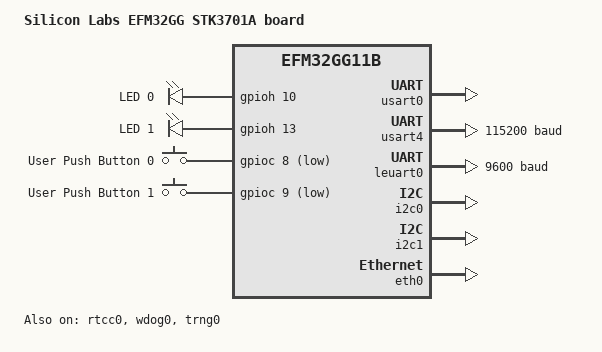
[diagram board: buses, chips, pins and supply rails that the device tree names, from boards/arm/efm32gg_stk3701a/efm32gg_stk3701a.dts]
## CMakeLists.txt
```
# SPDX-License-Identifier: Apache-2.0

cmake_minimum_required(VERSION 3.20.0)

set(BOARD_ROOT ${CMAKE_CURRENT_LIST_DIR})

#set(ZEPHYR_EXTRA_MODULES "/home/palich/zephyrproject/modules/spi_gecko;/home/palich/zephyrproject/modules/wfm200")
#for locally delivered modules or edit west.yml

find_package(Zephyr REQUIRED HINTS $ENV{ZEPHYR_BASE})

project(ykn_wifi)

FILE(GLOB pktqueue_sources src/*.c)

target_sources(app PRIVATE ${pktqueue_sources})
```

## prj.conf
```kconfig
CONFIG_CUSTOM_MBEDTLS_CFG_FILE=y
CONFIG_DHCPD=y
CONFIG_DNS_RESOLVER=y
CONFIG_INIT_STACKS=y
CONFIG_KERNEL_SHELL=y
CONFIG_LOG_PRINTK=y
CONFIG_LOG=y

CONFIG_MINIMAL_LIBC_MALLOC_ARENA_SIZE=8192
#CONFIG_NET_BUF_RX_COUNT=20
#CONFIG_NET_BUF_TX_COUNT=150
CONFIG_NET_CONNECTION_MANAGER=y
CONFIG_NET_DHCPV4=y
CONFIG_NET_IF_UNICAST_IPV4_ADDR_COUNT=2
CONFIG_NET_IF_MAX_IPV4_COUNT=2
CONFIG_NET_IPV4=y
CONFIG_NET_IPV6=n
CONFIG_NET_L2_WIFI_SHELL=y
CONFIG_NET_LOG=y
CONFIG_NET_MAX_CONTEXTS=5
CONFIG_NET_MGMT_EVENT_MONITOR=y
CONFIG_NET_PKT_RX_COUNT=10
CONFIG_NET_PKT_TX_COUNT=40
CONFIG_NET_RX_STACK_SIZE=2048
CONFIG_NET_SHELL=y
CONFIG_NET_SOCKETS_POLL_MAX=4
CONFIG_NET_SOCKETS_POSIX_NAMES=y
CONFIG_NET_SOCKETS=y
CONFIG_NET_STATISTICS_PERIODIC_OUTPUT=n
CONFIG_NET_STATISTICS=y
CONFIG_NET_TCP=y
CONFIG_NET_TC_TX_COUNT=1
CONFIG_NET_UDP=y
CONFIG_NETWORKING=y
CONFIG_NET_ZPERF=y
CONFIG_POSIX_API=y
CONFIG_POSIX_MAX_FDS=8
CONFIG_SHELL_BACKEND_TELNET=y
CONFIG_SHELL_TELNET_SUPPORT_COMMAND=y
CONFIG_SPI_GECKO=n
CONFIG_SPI_GECKO_USE_LDMA=y
CONFIG_TEST_RANDOM_GENERATOR=y
CONFIG_TIMING_FUNCTIONS=y
CONFIG_WIFI_LOG_LEVEL_ERR=y
CONFIG_WIFI=y

# add this secion to end of west.yml in ~/zephyrproject/zephyr
# and then run west update --narrow
#    - name: module-dhcpd
#      url: git@github.com:palich2000/module-dhcpd.git
#      revision: main
#      path: modules/dhcpd
#
#    - name: module-msgpackc
#      url: git@github.com:palich2000/msgpackc.git
#      revision: main
#      path: modules/msgpackc
#
#    - name: module-spigecko
#      url: git@github.com:palich2000/module-spigecko.git
#      revision: main
#      path: modules/spi_gecko
#
#    - name: module-wfm200
#      url: git@github.com:palich2000/module-wfm200.git
#      revision: main
#      path: modules/wfm200
#
```

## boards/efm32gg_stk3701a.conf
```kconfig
CONFIG_WIFI=y

CONFIG_WIFI_WFM200=y

CONFIG_SPI=y
CONFIG_EVENTS=y
CONFIG_SYS_CLOCK_HW_CYCLES_PER_SEC=72000000
CONFIG_CMU_HFCLK_HFRCO=y
```

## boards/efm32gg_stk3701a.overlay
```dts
/*
 * Copyright (c) 2022 Espressif Systems (Shanghai) Co., Ltd.
 *
 * SPDX-License-Identifier: Apache-2.0
 */


/*
&wifi0 {
	status = "okay";
};

&eth0 {
        status = "okay";
};
*/
```

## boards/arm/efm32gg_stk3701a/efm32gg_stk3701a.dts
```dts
/*
 * Copyright (c) 2019 Interay Solutions B.V.
 * Copyright (c) 2019 Oane Kingma
 *
 * SPDX-License-Identifier: Apache-2.0
 */

/dts-v1/;
#include <silabs/efm32gg11b820f2048gl192.dtsi>

/ {
	model = "Silicon Labs EFM32GG STK3701A board";
	compatible = "silabs,efm32gg_stk3701a", "silabs,efm32gg11b";

	chosen {
		zephyr,console = &usart4;
		zephyr,shell-uart = &usart4;
		zephyr,sram = &sram0;
		zephyr,flash = &flash0;
	};

	/* These aliases are provided for compatibility with samples */
	aliases {
		led0 = &led0;
		led1 = &led1;
		sw0 = &button0;
		sw1 = &button1;
		watchdog0 = &wdog0;
		//pinreset = &pinreset;
		spi = &usart0;
		gpioa = &gpioa;
		gpioc = &gpioc;
		gpioe = &gpioe;
		wifi0 = &wifi0;
	};

	leds {
		compatible = "gpio-leds";
		led0: led_0 {
			gpios = <&gpioh 10 0>;
			label = "LED 0";
		};
		led1: led_1 {
			gpios = <&gpioh 13 0>;
			label = "LED 1";
		};
		/*
	    pinreset: pin_reset {
		    gpios = <&gpioc 4 0>;
		    label = "PIN RESET";
	    };
		*/

	};

	buttons {
		compatible = "gpio-keys";
		button0: button_0 {
			/* gpio flags need validation */
			gpios = <&gpioc 8 GPIO_ACTIVE_LOW>;
			label = "User Push Button 0";
		};
		button1: button_1 {
			/* gpio flags need validation */
			gpios = <&gpioc 9 GPIO_ACTIVE_LOW>;
			label = "User Push Button 1";
		};
	};

	wifi0: wifi {
	   compatible = "silabs,wfm200";
	   /*status = "okay";*/
           status = "disabled";
	};

};

&usart0 {
	/*
	current-speed = <115200>;
	location-rx = <GECKO_LOCATION(0) GECKO_PORT_E GECKO_PIN(11)>;
	location-tx = <GECKO_LOCATION(0) GECKO_PORT_E GECKO_PIN(10)>;
	status = "okay";
	*/

	compatible = "silabs,gecko-spi-usart";

	#address-cells = <1>;
	#size-cells = <0>;

	location-rx = <GECKO_LOCATION(0) GECKO_PORT_E GECKO_PIN(11)>;
	location-tx = <GECKO_LOCATION(0) GECKO_PORT_E GECKO_PIN(10)>;
	location-clk = <GECKO_LOCATION(0) GECKO_PORT_E GECKO_PIN(12)>;

	cs-gpios = <&gpioe 13 GPIO_ACTIVE_LOW>;

	status = "okay";

};

&usart4 {
	current-speed = <115200>;
	location-rx = <GECKO_LOCATION(4) GECKO_PORT_H GECKO_PIN(5)>;
	location-tx = <GECKO_LOCATION(4) GECKO_PORT_H GECKO_PIN(4)>;
	status = "okay";
};

&leuart0 {
	current-speed = <9600>;
	location-rx = <GECKO_LOCATION(18) GECKO_PORT_D GECKO_PIN(11)>;
	location-tx = <GECKO_LOCATION(18) GECKO_PORT_D GECKO_PIN(10)>;
	status = "okay";
};

&i2c0 {
	location-sda = <GECKO_LOCATION(4) GECKO_PORT_C GECKO_PIN(0)>;
	location-scl = <GECKO_LOCATION(4) GECKO_PORT_C GECKO_PIN(1)>;
	status = "okay";
};

&i2c1 {
	location-sda = <GECKO_LOCATION(0) GECKO_PORT_C GECKO_PIN(4)>;
	location-scl = <GECKO_LOCATION(0) GECKO_PORT_C GECKO_PIN(5)>;
	status = "okay";
};

&rtcc0 {
	prescaler = <1>;
	status = "okay";
};

&gpio {
	location-swo = <0>;
	status = "okay";
};

&gpioa {
	status = "okay";
};

&gpiob {
	status = "okay";
};

&gpioc {
	status = "okay";
};

&gpiod {
	status = "okay";
};

&gpioe {
	status = "okay";
};

&gpiof {
	status = "okay";
};

&gpiog {
	status = "okay";
};

&gpioh {
	status = "okay";
};

&gpioi {
	status = "okay";
};

&eth0 {
	/* PHY address = 0 */
	phy-address = <0>;

	/* PHY management pins */
	location-mdio        = <GECKO_LOCATION(1)>;
	location-phy_mdc     = <GECKO_LOCATION(1) GECKO_PORT_D GECKO_PIN(14)>;
	location-phy_mdio    = <GECKO_LOCATION(1) GECKO_PORT_D GECKO_PIN(13)>;

	/* RMII interface pins */
	location-rmii        = <GECKO_LOCATION(1)>;
	location-rmii_refclk = <GECKO_LOCATION(5) GECKO_PORT_D GECKO_PIN(10)>;
	location-rmii_crs_dv = <GECKO_LOCATION(1) GECKO_PORT_D GECKO_PIN(11)>;
	location-rmii_txd0   = <GECKO_LOCATION(1) GECKO_PORT_F GECKO_PIN(7)>;
	location-rmii_txd1   = <GECKO_LOCATION(1) GECKO_PORT_F GECKO_PIN(6)>;
	location-rmii_tx_en  = <GECKO_LOCATION(1) GECKO_PORT_F GECKO_PIN(8)>;
	location-rmii_rxd0   = <GECKO_LOCATION(1) GECKO_PORT_D GECKO_PIN(9)>;
	location-rmii_rxd1   = <GECKO_LOCATION(1) GECKO_PORT_F GECKO_PIN(9)>;
	location-rmii_rx_er  = <GECKO_LOCATION(1) GECKO_PORT_D GECKO_PIN(12)>;

	status = "okay";
};

&flash0 {

	partitions {
		compatible = "fixed-partitions";
		#address-cells = <1>;
		#size-cells = <1>;

		/* Set 12Kb of storage at the end of the 2048Kb of flash */
		storage_partition: partition@1fd000 {
			label = "storage";
			reg = <0x001fd000 0x00003000>;
		};
	};
};

&wdog0 {
	status = "okay";
};

&trng0 {
	status = "okay";
};

&cpu0 {
	clock-frequency = <72000000>;
};

&wifi0 {
	status = "okay";
};
```

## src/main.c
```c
/*
 * Copyright (c) 2012-2014 Wind River Systems, Inc.
 *
 * SPDX-License-Identifier: Apache-2.0
 */

#include <zephyr/logging/log.h>
LOG_MODULE_REGISTER(wfm200test, LOG_LEVEL_DBG);

#include <stdio.h>
#include <stdlib.h>
#include <ctype.h>

#include <zephyr/kernel.h>
#include <zephyr/net/wifi_mgmt.h>
#include <zephyr/net/net_if.h>
#include <zephyr/timing/timing.h>
#include <zephyr/shell/shell.h>

#include <mbedtls/ecdh.h>
#include <mbedtls/entropy.h>
#include <mbedtls/ctr_drbg.h>
#include <mbedtls/md.h>
#include <mbedtls/sha256.h>
#include <mbedtls/ccm.h>
#include <arpa/inet.h>
#include <dhcpd.h>

#pragma GCC diagnostic push
#pragma GCC diagnostic error "-Wall"
#pragma GCC diagnostic error "-Wextra"
#pragma GCC diagnostic error "-Wunused"
#pragma GCC diagnostic error "-Wint-conversion"
#pragma GCC diagnostic error "-Wincompatible-pointer-types"

static struct net_mgmt_event_callback wifi_mgmt_cb;
static struct net_mgmt_event_callback  mgmt_if_cb;

static void handle_wifi_connect_result(struct net_mgmt_event_callback *cb, struct net_if *iface)
{
	const struct wifi_status *status = (const struct wifi_status *)cb->info;

	if (status->status) {
		LOG_ERR("Connection request failed (%d)", status->status);
	} else {
		LOG_INF("WIFI Connected");
		net_if_carrier_on(iface);
		net_dhcpv4_start(iface);
		LOG_INF("Dhcp started");
	}
}

static void handle_wifi_disconnect_result(struct net_mgmt_event_callback *cb, struct net_if *iface)
{
	const struct wifi_status *status = (const struct wifi_status *)cb->info;

	if (status->status) {
		LOG_ERR("Disconnection request failed (%d)", status->status);
	} else {
		LOG_INF("WIFI Disconnected");
		net_dhcpv4_stop(iface);
		net_if_config_ipv4_put(iface);
		net_if_carrier_off(iface);
		LOG_INF("Dhcp stopped");
	}
}

static void wifi_mgmt_event_handler(struct net_mgmt_event_callback *cb, uint32_t mgmt_event,
				    struct net_if *iface)
{
	switch (mgmt_event) {
	case NET_EVENT_WIFI_CONNECT_RESULT:
		handle_wifi_connect_result(cb, iface);
		break;
	case NET_EVENT_WIFI_DISCONNECT_RESULT:
		handle_wifi_disconnect_result(cb, iface);
		break;
	default:
		break;
	}
}

static void my_if_mgmt_event_handler(struct net_mgmt_event_callback *cb, uint32_t mgmt_event,
				     struct net_if *iface)
{
	ARG_UNUSED(cb);
	ARG_UNUSED(iface);
	LOG_INF("[%s]Event interface:%s event:0x%X", __FUNCTION__, iface->if_dev->dev->name, mgmt_event);
	switch (mgmt_event) {
	case NET_EVENT_IF_ADMIN_UP:
	case NET_EVENT_IF_UP:
		LOG_INF("Interface up %s", iface->if_dev->dev->name);
		if (strstr(iface->if_dev->dev->name,"eth@") == iface->if_dev->dev->name) {
			LOG_INF("dhcp4client for %s started", iface->if_dev->dev->name);
			net_dhcpv4_start(iface);
//			if (net_if_config_ipv4_put(iface) ) {
//				LOG_ERR("net_if_config_ipv4_put error");
//			}
//
//			memset(&iface->config.dhcpv4,0,sizeof(iface->config.dhcpv4));
//			if (iface->config.ip.ipv4) {
//				memset(&iface->config.ip.ipv4->gw, 0, sizeof(iface->config.ip.ipv4->gw));
//			}
//
//
//			struct in_addr addr;
//			if (net_addr_pton(AF_INET, "192.168.2.1", &addr)) {
//				LOG_ERR("Invalid address: %s", "192.168.2.1");
//				return;
//			}
//
//			if (net_if_ipv4_addr_add(iface, &addr, NET_ADDR_MANUAL, 0)==NULL){
//				LOG_ERR("net_if_ipv4_addr_add failed");
//				return;
//			}
//
//			if (net_addr_pton(AF_INET, "255.255.255.0", &addr)) {
//				LOG_ERR("Invalid netmask: %s", "255.255.255.0");
//				return;
//			}
//
//			net_if_ipv4_set_netmask(iface, &addr);
//
//			dhcpd4_start(iface);
		}
		break;
	case NET_EVENT_IF_ADMIN_DOWN:
	case NET_EVENT_IF_DOWN:
		LOG_INF("Interface down %s", iface->if_dev->dev->name);
		if (strstr(iface->if_dev->dev->name,"eth@") == iface->if_dev->dev->name) {
			LOG_INF("dhcp4client for %s stopped", iface->if_dev->dev->name);
			net_dhcpv4_stop(iface);
//			dhcpd4_stop(iface);
		}
		break;
	default:
		break;
	}
}

#define PR(fmt, ...)						\
	shell_fprintf(sh, SHELL_NORMAL, fmt, ##__VA_ARGS__)

static int cmd_test_iface_put(const struct shell *sh, size_t argc, char *argv[]){
	ARG_UNUSED(sh);
	PR("argc=%d\n", argc);
 if (argc==2) {
		int if_index = atoi(argv[1]);
		struct net_if * iface = net_if_get_by_index(if_index);
		if (net_if_config_ipv4_put(iface)!=0){
			PR("net_if_config_ipv4_put failed\n");
		} else {
			PR("net_if_config_ipv4_put ok\n");
			net_dhcpv4_stop(iface);
			memset(&iface->config.dhcpv4,0, sizeof(iface->config.dhcpv4));
		}
 }
 return 0;
}

static int cmd_test_ccm(const struct shell *sh, size_t argc, char *argv[])
{
	ARG_UNUSED(sh);
	ARG_UNUSED(argc);
	ARG_UNUSED(argv);

	unsigned char key[16] = {0x01, 0x23, 0x45, 0x67, 0x89, 0xab, 0xcd, 0xef,
				 0xfe, 0xdc, 0xba, 0x98, 0x76, 0x54, 0x32, 0x10};
	unsigned char nonce[12] = {0x00, 0x11, 0x22, 0x33, 0x44, 0x55,
				   0x66, 0x77, 0x88, 0x99, 0xaa, 0xbb};
	//unsigned char header[10] = {0xaa, 0xbb, 0xcc, 0xdd, 0xee, 0xff, 0x11, 0x22, 0x33, 0x44};

	unsigned char input[20] = {0x01, 0x23, 0x45, 0x67, 0x89, 0xab, 0xcd, 0xef, 0xfe, 0xdc,
				   0xba, 0x98, 0x76, 0x54, 0x32, 0x10, 0xff, 0xee, 0xdd, 0xcc};
	//unsigned char output[20] = {0};
	unsigned char tag[16] = {0};

	size_t input_len = 20;
	//size_t header_len = 10;
	size_t tag_len = 16;

	mbedtls_ccm_context ctx;
	mbedtls_ccm_init(&ctx);
	mbedtls_ccm_setkey(&ctx, MBEDTLS_CIPHER_ID_AES, key, 128);

	LOG_HEXDUMP_INF(input, input_len,"input");

	timing_t start_time, end_time;
	uint64_t total_cycles;
	uint64_t total_ns;

	timing_init();
	timing_start();

	start_time = timing_counter_get();

	mbedtls_ccm_encrypt_and_tag(&ctx, input_len,
				    nonce, sizeof(nonce),
				    NULL, 0,
				    input, input,
				    tag, tag_len);

	end_time = timing_counter_get();

	total_cycles = timing_cycles_get(&start_time, &end_time);
	total_ns = timing_cycles_to_ns(total_cycles);

	timing_stop();
	mbedtls_ccm_free(&ctx);
	LOG_HEXDUMP_INF(input, input_len,"output");
	LOG_HEXDUMP_INF(tag, tag_len,"tag");
	LOG_INF("exec time: %lld microseconds", total_ns/1000);
	return 0;
}

static int cmd_test_arp(const struct shell *sh, size_t argc, char *argv[])
{
	ARG_UNUSED(sh);
	ARG_UNUSED(argc);
	ARG_UNUSED(argv);
//	struct net_if * iface = net_if_get_default();
//	struct in_addr ip_addr;
//	inet_pton(AF_INET,"192.168.2.2", &ip_addr);
//	struct net_eth_addr mac_addr={.addr={0,1,2,3,4,5}};
//	arp_update(iface,&ip_addr, &mac_addr,false,true);
	return 0;
}

SHELL_STATIC_SUBCMD_SET_CREATE(test_commands,
	SHELL_CMD(ccm, NULL, "Test ccm alg",cmd_test_ccm),
			       SHELL_CMD(iput, NULL, "Test iface_put",cmd_test_iface_put),
			       SHELL_CMD(arp, NULL, "Test arp_update",cmd_test_arp),
	SHELL_SUBCMD_SET_END
);

SHELL_CMD_REGISTER(test, &test_commands, "Testing commands", NULL);

#define WIFI_MGMT_EVENTS (NET_EVENT_WIFI_SCAN_RESULT |		\
				NET_EVENT_WIFI_SCAN_DONE |		\
				NET_EVENT_WIFI_CONNECT_RESULT |		\
				NET_EVENT_WIFI_DISCONNECT_RESULT |  \
				NET_EVENT_WIFI_TWT)

void main(void)
{
	LOG_INF("********************************** --- start ***********************************");

	net_mgmt_init_event_callback(&wifi_mgmt_cb, wifi_mgmt_event_handler,
				     _NET_WIFI_EVENT);
	net_mgmt_add_event_callback(&wifi_mgmt_cb);

	net_mgmt_init_event_callback(&mgmt_if_cb, my_if_mgmt_event_handler, _NET_EVENT_IF_BASE);
	net_mgmt_add_event_callback(&mgmt_if_cb);

	while (1) {
		k_msleep(1000);
	}
}

// my comment
```

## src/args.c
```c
#include <zephyr/logging/log.h>
LOG_MODULE_DECLARE(dhcp4server, LOG_LEVEL_DBG);

#include <getopt.h>
#include <string.h>
#include <stdio.h>
#include <ctype.h>
#include <stdlib.h>
#include <unistd.h>
#include <arpa/inet.h>
#include "args.h"
#include "options.h"
#include <zephyr/shell/shell.h>
#include "dhcpmem.h"

#pragma GCC diagnostic push
#pragma GCC diagnostic error "-Wall"
#pragma GCC diagnostic error "-Wextra"
#pragma GCC diagnostic error "-Wunused"
#pragma GCC diagnostic error "-Wint-conversion"

#define PR(sh, level, fmt, ...)					\
	do {								\
		if (sh) {						\
			shell_fprintf(sh, level, fmt, ##__VA_ARGS__); \
		} else {						\
			printk(fmt, ##__VA_ARGS__);			\
		}							\
	} while (false)

void usage(const struct shell *sh,char *msg)
{
	shell_warn(sh,"%s", USAGE_TXT);
    
    if (msg) {
	    shell_error(sh,"%s", msg);
    }
    
}

int parse_and_add_option(address_pool *pool, char * name, char * value)
{

    dhcp_option *option = dhcp4_calloc(1, sizeof(*option));
    if (!option) {
	    return -1;
    }
    uint8_t id = parse_option(option, name, value);
    if (id == 0) {
	    LOG_ERR("error: invalid dhcp option specified: %s,%s", name, value);
	    option_free(&option);
	    return -1;
    }
    return append_option(&pool->options, option);
}

int parse_args(const struct shell *sh, int argc, char *argv[], address_pool *pool)
{
    int c;

    opterr = 0;

    struct net_if * iface = net_if_get_default();
    if (iface) {
	pool->device_index=net_if_get_by_iface(iface);
    } else {
	pool->device_index=-1;
    }

    while ((c = getopt (argc, argv, "a:d:o:p:s:")) != -1)
	switch (c) {

	case 'a': // parse IP address pool
	    {
		char *opt    = dhcp4_strdup(optarg);
		char *sfirst = opt;
		char *slast  = strchr(opt, ',');
	    
		if (slast == NULL) {
			usage(sh,"error: comma not present in option -a.");
			return -1;
		}
		*slast = '\0';
		slast++;
	    
		uint32_t *first, *last;
		
		if (parse_ip(sfirst, (void **)&first) != 4) {
			usage(sh,"error: invalid first ip in address pool.");
			return -1;
		}

		if (parse_ip(slast, (void **)&last) != 4) {
			usage(sh, "error: invalid last ip in address pool.");
			return -1;
		}

		pool->indexes.first   = *first;
		pool->indexes.last    = *last;
		pool->indexes.current = *first;
		
		dhcp4_free(first);
		dhcp4_free(last);
		dhcp4_free(opt);
		
		break;
	    }

	case 'd': // network device to use
	    {
		uint32_t * di;
		if(parse_long(optarg, (void **)&di) != 4) {
			usage(sh, "error: invalid device index.");
			return -1;
		}
		struct net_if *iface = net_if_get_by_index(*di);
		if (!iface) {
			dhcp4_free(di);
			pool->device_index=-1;
			usage(sh, "error: invalid device index. device not found");
			return -1;
		}
		pool->device_index=net_if_get_by_iface(iface);
		dhcp4_free(di);
		break;
	    }
	    
	case 'o': // parse dhcp option
	    {
		uint8_t id;

		char *opt   = dhcp4_strdup(optarg);
		char *name  = opt;
		char *value = strchr(opt, ',');
		
		if (value == NULL) {
			usage(sh, "error: comma not present in option -o.");
			return -1;
		}
		*value = '\0';
		value++;
		
		dhcp_option *option = dhcp4_calloc(1, sizeof(*option));
		
		if((id = parse_option(option, name, value)) == 0) {
		    shell_error(sh,"error: invalid dhcp option specified: %s,%s",name, value);
		    return -1;
		}
		
		append_option(&pool->options, option);

		if(option->id == IP_ADDRESS_LEASE_TIME)
		    pool->lease_time = ntohl(*((uint32_t *)option->data));

		dhcp4_free(option);
		dhcp4_free(opt);
		break;
	    }

	case 'p': // parse pending time
	    {
		time_t *t;

		if(parse_long(optarg, (void **)&t) != 4) {
		    usage(sh, "error: invalid pending time.");
		    return -1;
		}

		pool->pending_time = *t;
		dhcp4_free(t);
		break;
	    }

	case 's': // static binding
	    {
		char *opt = dhcp4_strdup(optarg);
		char *shw  = opt;
		char *sip  = strchr(opt, ',');
		
		if (sip == NULL) {
		    usage(sh, "error: comma not present in option -s.");
		    return -1;
		}
		*sip = '\0';
		    sip++;
		
		uint32_t *ip;
		uint8_t  *hw;
		
		if (parse_mac(shw, (void **)&hw) != 6) {
		    usage(sh, "error: invalid mac address in static binding.");
		    return -1;
		}
		
		if (parse_ip(sip, (void **)&ip) != 4) {
		    usage(sh, "error: invalid ip in static binding.");
		    return -1;
		}
		
		add_binding(&pool->bindings, *ip, hw, 6, 1);
		
		dhcp4_free(ip);
		dhcp4_free(hw);
		dhcp4_free(opt);
	    }
	    break;
	case '?':
	    usage(sh, NULL);
	    break;
	default:
	    usage(sh, NULL);
	}

    if(optind >= argc) {
	usage(sh, "error: server address not provided.");
	return -1;
    }

    uint32_t *ip;

    if (parse_ip(argv[optind], (void **)&ip) != 4) {
	usage(sh, "error: invalid server address.");
	return -1;
    }

    pool->server_id = *ip;
    
    dhcp4_free(ip);
    return 0;

}
int dhcpd4_start(struct net_if *iface);
static int cmd_dhcpd_start(const struct shell *sh, size_t argc, char *argv[]) {
    address_pool * pool = get_pool();
    memset(pool, 0, sizeof(*pool));
    init_binding_list(&pool->bindings);
    init_option_list(&pool->options);

    if (parse_args(sh, argc, argv, pool)!=0) {
	return 1;
    }

    dhcpd4_start(NULL);
    return 0;
}

static int cmd_dhcpd_stop(const struct shell *sh, size_t argc, char *argv[]) {
	ARG_UNUSED(argc);
	ARG_UNUSED(argv);
	PR(sh, SHELL_ERROR, "unimplemented yet");
	shell_help(sh);
	return -ENOEXEC;
}

SHELL_STATIC_SUBCMD_SET_CREATE(dhcpd_commands,
	SHELL_CMD(start, NULL, "dhcpd4 start", cmd_dhcpd_start),
	SHELL_CMD(stop, NULL,  "dhcpd4 stop", cmd_dhcpd_stop),
	SHELL_SUBCMD_SET_END
);


SHELL_CMD_REGISTER(dhcpd4, &dhcpd_commands, "dhcpd4 commands", NULL);


static int dhcpd_shell_init(const struct device *unused)
{
    ARG_UNUSED(unused);
    return 0;
}

SYS_INIT(dhcpd_shell_init, APPLICATION, CONFIG_KERNEL_INIT_PRIORITY_DEFAULT);
```

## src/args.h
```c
#include <stdint.h>
#include <time.h>

#include "dhcpserver.h"

#define NAME "dhcpserver"
#define VERSION "v. 0.1"

#define USAGE_TXT							\
    NAME " - " VERSION "\n"						\
    "usage: [-a first,last] [-d device] [-o opt,value]\n"		\
    "       [-p time] [-s mac,ip] server_address\n"

/* 
 * Usage description:
 *  -a: specify the pool of free addresses to allocate
 *  -d: network device name to use
 *  -o: specify a DHCP option for the pool
 *  -p: time in the pending state (in seconds)
 *  -s: specify a static binding
 */

/* Prototypes */

//void usage(char *msg, int exit_status);
//void parse_args(int argc, char *argv[], address_pool *pool);
int parse_and_add_option(address_pool *pool, char * name, char * value);
```

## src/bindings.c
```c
#include <zephyr/logging/log.h>
LOG_MODULE_DECLARE(dhcp4server, LOG_LEVEL_DBG);
#include <stdio.h>
#include <stdlib.h>
#include <string.h>
#include <time.h>
#include <arpa/inet.h>
#include "queue.h"
#include "bindings.h"
#include "dhcpmem.h"

#pragma GCC diagnostic push
#pragma GCC diagnostic error "-Wall"
#pragma GCC diagnostic error "-Wextra"
#pragma GCC diagnostic error "-Wunused"


/*
 * Initialize the binding list.
 */

void
init_binding_list (binding_list *list)
{
    LIST_INIT(list);
}

/*
 * Create a new binding
 * 
 * The binding is added to the binding list,
 * and a pointer to the binding is returned for further manipulations.
 */

address_binding *
add_binding (binding_list *list, uint32_t address,
	     uint8_t *cident, uint8_t cident_len, int is_static)
{
    // fill binding

    address_binding *binding = dhcp4_calloc(1, sizeof(*binding));

    binding->address = address;
    binding->cident_len = cident_len;
    memcpy(binding->cident, cident, cident_len);

    binding->is_static = is_static;

    // add to binding list

    LIST_INSERT_HEAD(list, binding, pointers);
    
    return binding;
}

/*
 * Updated bindings status, i.e. set to EXPIRED the status of the 
 * expired bindings.
 */

void
update_bindings_statuses (binding_list *list)
{
    address_binding *binding, *binding_temp;
    
    LIST_FOREACH_SAFE(binding, list, pointers, binding_temp) {
	if(binding->binding_time + binding->lease_time < time(NULL)) {
	    binding->status = EXPIRED;
	}
    }
}

/*
 * Search a static or dynamic binding having the given client identifier.
 *
 * If the is_static option is true a static binding will be searched,
 * otherwise a dynamic one. If status is not zero, an binding with that
 * status will be searched.
 */

address_binding *
search_binding (binding_list *list, uint8_t *cident, uint8_t cident_len,
		int is_static, int status)
{
    address_binding *binding, *binding_temp;
	
    LIST_FOREACH_SAFE(binding, list, pointers, binding_temp) {

	if((binding->is_static == is_static || is_static == STATIC_OR_DYNAMIC) &&
	   binding->cident_len == cident_len &&
	   memcmp(binding->cident, cident, cident_len) == 0) {

	    if(status == 0)
		return binding;
	    else if(status == binding->status)
		return binding;
	}
    }

    return NULL;
}

/*
 * Get an available free address
 *
 * If a zero address is returned, no more address are available.
 */

static uint32_t
take_free_address (pool_indexes *indexes)
{
    if(indexes->current <= indexes->last) {

	uint32_t address = indexes->current;	
	indexes->current = htonl(ntohl(indexes->current) + 1);
	return address;

    } else
	return 0;
}

/*
 * Create a new dynamic binding or reuse an expired one.
 *
 * An attemp will be made to assign to the client the requested IP address
 * contained in the address option. An address equals to zero means that no 
 * specific address has been requested.
 *
 * If the dynamic pool of addresses is full a NULL pointer will be returned.
 */

address_binding *
new_dynamic_binding (binding_list *list, pool_indexes *indexes, uint32_t address,
		     uint8_t *cident, uint8_t cident_len)
{
    address_binding *binding, *binding_temp;
    address_binding *found_binding = NULL;

    if (address != 0) {

	LIST_FOREACH_SAFE(binding, list, pointers, binding_temp) {
	    // search a previous binding using the requested IP address

	    if(binding->address == address) {
		found_binding = binding;
		break;
	    }
	}
    }

    if(found_binding != NULL &&
       !found_binding->is_static &&
       found_binding->status != PENDING &&
       found_binding->status != ASSOCIATED) {

	// the requested IP address is available (reuse an expired association)
	return found_binding;
	
    } else {

	/* the requested IP address is already in use, or no address has been
           requested, or the address requested has never been allocated
           (we do not support this last case and just return the next
           available address!). */

	uint32_t address = take_free_address(indexes);

	if(address != 0)
	    return add_binding(list, address, cident, cident_len, 0);

	else { // search any previously assigned address which is expired
    
	    LIST_FOREACH_SAFE(binding, list, pointers, binding_temp) {
		if(!binding->is_static &&
		   found_binding->status != PENDING &&
		   found_binding->status != ASSOCIATED)
		    return binding;
	    }

	    // if executions reach here no more addresses are available
	    return NULL;
	}	
    }

    // execution should not reach here...
    return NULL;
}
```

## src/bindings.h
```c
#ifndef BINDINGS_H
#define BINDINGS_H

#include <stdint.h>
#include <time.h>

#include "queue.h"
#include "options.h"

/*
 * Header to manage the database of address bindings.
 */

// static association or dynamic
enum {
    DYNAMIC = 0,
    STATIC  = 1,
    STATIC_OR_DYNAMIC = 2
};

// binding status
enum {
    B_EMPTY = 0,
    ASSOCIATED,
    PENDING,
    EXPIRED,
    RELEASED
};

/*
 * IP address used to delimitate an address pool.
 */

struct pool_indexes {
    uint32_t first;    // first address of the pool
    uint32_t last;     // last address of the pool
    uint32_t current;  // current available address
};

typedef struct pool_indexes pool_indexes;

/*
 * The bindings are organized as a double linked list
 * using the standard queue(3) library
 */

struct address_binding {
    uint32_t address;     // address
    uint8_t cident_len;   // client identifier len
    uint8_t cident[256];  // client identifier
    
    time_t binding_time;  // time of binding
    time_t lease_time;    // duration of lease

    int status;           // binding status
    int is_static;        // check if it is a static binding

    LIST_ENTRY(address_binding) pointers; // list pointers, see queue(3)
};

typedef struct address_binding address_binding;

typedef LIST_HEAD(binding_list_, address_binding) BINDING_LIST_HEAD;
typedef struct binding_list_ binding_list;
						 
/*
 * Prototypes
 */

void init_binding_list (binding_list *list);

address_binding *add_binding (binding_list *list, uint32_t address, uint8_t *cident, uint8_t cident_len, int is_static);
void remove_binding (address_binding *binding);

void update_bindings_statuses (binding_list *list);

address_binding *search_binding (binding_list *list, uint8_t *cident, uint8_t cident_len, int is_static, int status);
address_binding *new_dynamic_binding (binding_list *list, pool_indexes *indexes, uint32_t address, uint8_t *cident, uint8_t cident_len);

#endif
```

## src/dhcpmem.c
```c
/**
 * @file dhcpmem.c
 * @author Tsaplay Yuriy (y.tsaplay@yukonww.com)
 *
 * @brief
 *
 */
#include <string.h>
#include <zephyr/kernel.h>
#include <zephyr/device.h>
#include <zephyr/devicetree.h>

#include "dhcpmem.h"

#pragma GCC diagnostic push
#pragma GCC diagnostic error "-Wall"
#pragma GCC diagnostic error "-Wextra"
#pragma GCC diagnostic error "-Wunused"

#define DHCP4_SERVER_BUFFER_SIZE (4096u*2u)

static K_HEAP_DEFINE(dhcp4_server_mem_buffer, DHCP4_SERVER_BUFFER_SIZE);
static K_MUTEX_DEFINE(dhcp4_server_mem_mutex);

void *dhcp4_malloc(size_t size){
	k_mutex_lock(&dhcp4_server_mem_mutex, K_FOREVER);
	void * buffer = k_heap_alloc(&dhcp4_server_mem_buffer, size, K_NO_WAIT);
	if (!buffer) {
		printk("out of memory dhcp4_malloc");
	}
	k_mutex_unlock(&dhcp4_server_mem_mutex);
	return buffer;
}

void *dhcp4_calloc(size_t nmemb, size_t size)
{
	size = size * nmemb;
	void *ret = dhcp4_malloc(size);

	if (ret != NULL) {
		(void)memset(ret, 0, size);
	} else {
		printk("out of memory dhcp4_calloc");
	}
	return ret;
}

void _dhcp4_free(void * ptr) {
	if (ptr) {
		k_mutex_lock(&dhcp4_server_mem_mutex, K_FOREVER);
		k_heap_free(&dhcp4_server_mem_buffer, ptr);
		k_mutex_unlock(&dhcp4_server_mem_mutex);
	}
}

char *dhcp4_strdup(const char *str){
	if(str) {
		size_t l = strlen(str);
		char * buf = dhcp4_malloc(l+1);
		if (buf) {
			memmove(buf, str, l);
			buf[l] = 0;
		}
		return buf;
	} else {
		return NULL;
	}
}
```

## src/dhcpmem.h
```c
/**
 * @file dhcpmem.h
 * @author Tsaplay Yuriy (y.tsaplay@yukonww.com)
 *
 * @brief
 *
 */
#ifndef ZEPHYR_DHCPMEM_H
#define ZEPHYR_DHCPMEM_H
#include <stddef.h>

void *dhcp4_malloc(size_t size);
void *dhcp4_calloc(size_t nmemb, size_t size);

#define dhcp4_free(buffer) \
	while(true) {           \
        if (buffer) {    \
		_dhcp4_free(buffer);     \
		(buffer)=NULL;}                 \
        break;                 \
	}

void _dhcp4_free(void * ptr);
char *dhcp4_strdup(const char *str);

#endif // ZEPHYR_DHCPMEM_H
```

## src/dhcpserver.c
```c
#define _GNU_SOURCE 1

#include <zephyr/logging/log.h>
LOG_MODULE_REGISTER(dhcp4server, LOG_LEVEL_DBG);

#include <stdio.h>
#include <string.h>
#include <stdlib.h>
#include <stdint.h>
#include <time.h>
#include <unistd.h>
#include <errno.h>
#include <sys/socket.h>
#include <sys/select.h>
#include <zephyr/net/net_if.h>
#include "dhcpserver.h"
#include "bindings.h"
#include "args.h"
#include "dhcp.h"
#include "options.h"
#include "logging.h"
#include "arpa/inet.h"
#include "zephyr/net/ethernet.h"
#include "dhcpmem.h"

#pragma GCC diagnostic push
#pragma GCC diagnostic error "-Wall"
#pragma GCC diagnostic error "-Wextra"
#pragma GCC diagnostic error "-Wunused"
#pragma GCC diagnostic error "-Wint-conversion"
#pragma GCC diagnostic error "-Wincompatible-pointer-types"
/*
 * Global pool
 */

static address_pool pool;
address_pool *get_pool(void) {
	return &pool;
}
/*
 * Helper functions
 */

static char *
str_ip (uint32_t ip)
{
    static char addrstr[INET_ADDRSTRLEN];
    return inet_ntop(AF_INET, &ip, addrstr, sizeof(addrstr));
}

static char *
str_mac (uint8_t *mac)
{
    static char str[128];

    sprintf(str, "%.2x:%.2x:%.2x:%.2x:%.2x:%.2x",
	    mac[0], mac[1], mac[2],
	    mac[3], mac[4], mac[5]);

    return str;
}

char *
str_status (int status)
{
    switch(status) {
    case B_EMPTY:
	return "empty";
    case PENDING:
	return "pending";
    case ASSOCIATED:
	return "associated";
    case RELEASED:
	return "released";
    case EXPIRED:
	return "expired";
    default:
	return NULL;
    }
}

struct net_pkt *dhcpdv4_create_message(struct net_if *iface,
				       const struct in_addr *src,
				       const struct in_addr *dst,
				       uint8_t * data,
				       size_t size);

/*
 * Network related routines
 */

extern void arp_update(struct net_if *iface,
		       struct in_addr *src,
		       struct net_eth_addr *hwaddr,
		       bool gratuitous,
		       bool force);

void
add_arp_entry (int s, uint8_t *mac, uint32_t ip) //TODO
{
    ARG_UNUSED(s);
    ARG_UNUSED(mac);
    ARG_UNUSED(ip);

    struct net_if * iface = net_if_get_default();
    struct in_addr ip_addr;
    //inet_pton(AF_INET,"192.168.2.2", &ip_addr);
    struct net_eth_addr mac_addr;
    memmove(mac_addr.addr,mac,sizeof(mac_addr.addr));
    ip_addr.s_addr=ip;
    LOG_INF("arp add entry: %s %s",str_ip(ip), str_mac(mac));
    arp_update(iface,&ip_addr, &mac_addr,false,true);

    //    struct arpreq ar;
//    struct sockaddr_in *sock;
//
//    memset(&ar, 0, sizeof(ar));
//
//    /* add a proxy ARP entry for given pair */
//
//    sock = (struct sockaddr_in *) &ar.arp_pa;
//    sock->sin_family = AF_INET;
//    sock->sin_addr.s_addr = ip;
//
//    memcpy(ar.arp_ha.sa_data, mac, 6);
//    ar.arp_flags = ATF_COM; //(ATF_PUBL | ATF_COM);
//
//    strncpy(ar.arp_dev, pool.device, sizeof(ar.arp_dev));
//
//    if (ioctl(s, SIOCSARP, (char *) &ar) < 0)  {
//	perror("error adding entry to arp table");
//    };
}

void
delete_arp_entry (int s, uint8_t *mac, uint32_t ip) //TODO
{
    ARG_UNUSED(s);
    ARG_UNUSED(mac);
    ARG_UNUSED(ip);
//    struct arpreq ar;
//    struct sockaddr_in *sock;
//
//    memset(&ar, 0, sizeof(ar));
//
//    sock = (struct sockaddr_in *) &ar.arp_pa;
//    sock->sin_family = AF_INET;
//    sock->sin_addr.s_addr = ip;
//
//    strncpy(ar.arp_dev, pool.device, sizeof(ar.arp_dev));
//
//    if(ioctl(s, SIOCGARP, (char *) &ar) < 0)  {
//	if (errno != ENXIO) {
//	    perror("error getting arp entry");
//	    return;
//	}
//    };
//
//    if(ip == 0 || memcmp(mac, ar.arp_ha.sa_data, 6) == 0) {
//	if(ioctl(s, SIOCDARP, (char *) &ar) < 0) {
//	    perror("error removing arp table entry");
//	}
//    }
}

int
send_dhcp_reply	(int s, struct sockaddr_in *client_sock, dhcpd_msg *reply)
{
    ARG_UNUSED(s);
    ARG_UNUSED(client_sock);

     size_t len = serialize_option_list(&reply->opts, reply->hdr.options,
				sizeof(reply->hdr) - DHCP_HEADER_SIZE);

    len += DHCP_HEADER_SIZE;

//    int broadcast = 1;
//    if (setsockopt(s, SOL_SOCKET, SO_BROADCAST, &broadcast, sizeof(broadcast)) < 0) {
//	LOG_ERR("setsockopt");
//	return -1;
//    }
//    inet_pton(AF_INET, "255.255.255.255", &client_sock->sin_addr.s_addr);
//    //client_sock->sin_addr.s_addr = reply->hdr.yiaddr; // use the address assigned by us
//
//    if(reply->hdr.yiaddr != 0) {
//	add_arp_entry(s, reply->hdr.chaddr, reply->hdr.yiaddr);
//    }
//
//    if ((ret = sendto(s, reply, len, 0, (struct sockaddr *)client_sock, sizeof(*client_sock))) < 0) {
//	LOG_ERR("sendto failed");
//	return -1;
//    }

    struct net_if * iface = net_if_get_by_index(pool.device_index);
    if (iface) {
	//iface->config.dhcpv4.xid++;
	struct in_addr src = iface->config.ip.ipv4->unicast[0].address.in_addr;
	struct net_pkt *pkt =
		dhcpdv4_create_message(iface, &src, net_ipv4_broadcast_address(), (uint8_t*)reply, len);
	if (!pkt) {
		goto fail;
	}

	if (net_send_data(pkt) < 0) {
		goto fail;
	} else {
		printk("dhcpd4 packet sent, size=%u\n", len);
	}

	return 0;
    } else {
	LOG_ERR("Invalid interface index %d", pool.device_index);
    }
fail:
    return -1;
}

/*
 * Message handling routines.
 */

uint8_t
expand_request (dhcpd_msg *request, size_t len)
{
    init_option_list(&request->opts);
    
    if (request->hdr.hlen < 1 || request->hdr.hlen > 16)
	return 0;

    if(parse_options_to_list(&request->opts, (dhcp_option *)request->hdr.options,
			     len - DHCP_HEADER_SIZE) == 0)
	return 0;
    
    dhcp_option *type_opt = search_option(&request->opts, DHCP_MESSAGE_TYPE);
    
    if (type_opt == NULL)
	return 0;

    uint8_t type = type_opt->data[0];
    
    return type;
}

int
init_reply (dhcpd_msg *request, dhcpd_msg *reply)
{
    memset(&reply->hdr, 0, sizeof(reply->hdr));

    init_option_list(&reply->opts);
    
    reply->hdr.op = BOOTREPLY;

    reply->hdr.htype = request->hdr.htype;
    reply->hdr.hlen  = request->hdr.hlen;

    reply->hdr.xid   = request->hdr.xid;
    reply->hdr.flags = request->hdr.flags;
     
    reply->hdr.giaddr = request->hdr.giaddr;
    
    memcpy(reply->hdr.chaddr, request->hdr.chaddr, request->hdr.hlen);

    return 1;
}

void
fill_requested_dhcp_options (dhcp_option *requested_opts, dhcp_option_list *reply_opts)
{
    uint8_t len = requested_opts->len;
    uint8_t *id = requested_opts->data;

    int i;
    for (i = 0; i < len; i++) {
	    
	if(id[i] != 0) {
	    dhcp_option *opt = search_option(&pool.options, id[i]);

	    if(opt != NULL)
		append_option(reply_opts, opt);
	}
	    
    }
}

int
fill_dhcp_reply (dhcpd_msg *request, dhcpd_msg *reply,
		 address_binding *binding, uint8_t type)
{
    static dhcp_option type_opt, server_id_opt;

    type_opt.id = DHCP_MESSAGE_TYPE;
    type_opt.len = 1;
    type_opt.data[0] = type;
    append_option(&reply->opts, &type_opt);

    server_id_opt.id = SERVER_IDENTIFIER;
    server_id_opt.len = 4;
    memcpy(server_id_opt.data, &pool.server_id, sizeof(pool.server_id));
    append_option(&reply->opts, &server_id_opt);
    
    if(binding != NULL) {
	reply->hdr.yiaddr = binding->address;
    }
    
    if (type != DHCP_NAK) {
	dhcp_option *requested_opts = search_option(&request->opts, PARAMETER_REQUEST_LIST);

	if (requested_opts)
	    fill_requested_dhcp_options(requested_opts, &reply->opts);
    }
    
    return type;
}

int
serve_dhcp_discover (dhcpd_msg *request, dhcpd_msg *reply)
{  
    address_binding *binding = search_binding(&pool.bindings, request->hdr.chaddr,
					      request->hdr.hlen, STATIC, B_EMPTY);

    if (binding) { // a static binding has been configured for this client

        log_info("Offer %s to %s (static), %s status %sexpired",
                 str_ip(binding->address), str_mac(request->hdr.chaddr),
                 str_status(binding->status),
                 binding->binding_time + binding->lease_time < time(NULL) ? "" : "not ");
            
        if (binding->binding_time + binding->lease_time < time(NULL)) {
	    binding->status = PENDING;
	    binding->binding_time = time(NULL);
	    binding->lease_time = pool.pending_time;
	}
            
        return fill_dhcp_reply(request, reply, binding, DHCP_OFFER);

    }

    else { // use dynamic pool

        /* If an address is available, the new address
           SHOULD be chosen as follows: */

	binding = search_binding(&pool.bindings, request->hdr.chaddr,
				 request->hdr.hlen, DYNAMIC, B_EMPTY);

        if (binding) {

            /* The client's current address as recorded in the client's current
               binding, ELSE */

            /* The client's previous address as recorded in the client's (now
               expired or released) binding, if that address is in the server's
               pool of available addresses and not already allocated, ELSE */

	    log_info("Offer %s to %s, %s status %sexpired",
		     str_ip(binding->address), str_mac(request->hdr.chaddr),
		     str_status(binding->status),
		     binding->binding_time + binding->lease_time < time(NULL) ? "" : "not ");

	    if (binding->binding_time + binding->lease_time < time(NULL)) {
		binding->status = PENDING;
		binding->binding_time = time(NULL);
		binding->lease_time = pool.pending_time;
	    }
	    
            return fill_dhcp_reply(request, reply, binding, DHCP_OFFER);

        } else {

	    /* The address requested in the 'Requested IP Address' option, if that
	       address is valid and not already allocated, ELSE */

	    /* A new address allocated from the server's pool of available
	       addresses; the address is selected based on the subnet from which
	       the message was received (if 'giaddr' is 0) or on the address of
	       the relay agent that forwarded the message ('giaddr' when not 0). */

	    // TODO: extract requested IP address
	    uint32_t address = 0;
	    dhcp_option *address_opt =
		search_option(&request->opts, REQUESTED_IP_ADDRESS);

	    if(address_opt != NULL)
		memcpy(&address, address_opt->data, sizeof(address));
	    
	    binding = new_dynamic_binding(&pool.bindings, &pool.indexes, address,
					  request->hdr.chaddr, request->hdr.hlen);

	    if (binding == NULL) {
		log_info("Can not offer an address to %s, no address available.",
			 str_mac(request->hdr.chaddr));
		
		return 0;
	    }

	    log_info("Offer %s to %s, %s status %sexpired",
		     str_ip(binding->address), str_mac(request->hdr.chaddr),
		     str_status(binding->status),
		     binding->binding_time + binding->lease_time < time(NULL) ? "" : "not ");
	    
	    if (binding->binding_time + binding->lease_time < time(NULL)) {
		binding->status = PENDING;
		binding->binding_time = time(NULL);
		binding->lease_time = pool.pending_time;
	    }

	    return fill_dhcp_reply(request, reply, binding, DHCP_OFFER);
	}

    }

    // should NOT reach here...
}

int
serve_dhcp_request (dhcpd_msg *request, dhcpd_msg *reply)
{
    address_binding *binding = search_binding(&pool.bindings, request->hdr.chaddr,
					      request->hdr.hlen, STATIC_OR_DYNAMIC, PENDING);

    uint32_t server_id = 0;
    dhcp_option *server_id_opt = search_option(&request->opts, SERVER_IDENTIFIER);

    if(server_id_opt != NULL)
	memcpy(&server_id, server_id_opt->data, sizeof(server_id));
    
    if (server_id == pool.server_id) { // this request is an answer to our offer

	if (binding != NULL) {

	    log_info("Ack %s to %s, associated",
		     str_ip(binding->address), str_mac(request->hdr.chaddr));

	    binding->status = ASSOCIATED;
	    binding->lease_time = pool.lease_time;
	    
	    return fill_dhcp_reply(request, reply, binding, DHCP_ACK);
	
	} else {

	    log_info("Nak to %s, not associated",
		     str_mac(request->hdr.chaddr));
		    
	    return fill_dhcp_reply(request, reply, NULL, DHCP_NAK);
	}

    } else if (server_id != 0) { // answer to the offer of another server

	log_info("Clearing %s of %s, accepted another server offer",
		 str_ip(binding->address), str_mac(request->hdr.chaddr));
		    
	binding->status = B_EMPTY;
	binding->lease_time = 0;
	
	return 0;

    }

    // malformed request...
    return 0;
}

int
serve_dhcp_decline (dhcpd_msg *request, dhcpd_msg *reply)
{
    ARG_UNUSED(reply);
    address_binding *binding = search_binding(&pool.bindings, request->hdr.chaddr,
					      request->hdr.hlen, STATIC_OR_DYNAMIC, PENDING);

    if(binding != NULL) {
	log_info("Declined %s by %s",
		 str_ip(binding->address), str_mac(request->hdr.chaddr));

	binding->status = B_EMPTY;
    }

    return 0;
}

int
serve_dhcp_release (dhcpd_msg *request, dhcpd_msg *reply)
{
    ARG_UNUSED(reply);
    address_binding *binding = search_binding(&pool.bindings, request->hdr.chaddr,
					      request->hdr.hlen, STATIC_OR_DYNAMIC, ASSOCIATED);

    if(binding != NULL) {
	log_info("Released %s by %s",
		 str_mac(request->hdr.chaddr), str_ip(binding->address));

	binding->status = RELEASED;
    }

    return 0;
}

int
serve_dhcp_inform (dhcpd_msg *request, dhcpd_msg *reply)
{
    log_info("Info to %s", str_mac(request->hdr.chaddr));
    return fill_dhcp_reply(request, reply, NULL, DHCP_ACK);
}

/*
 * Dispatch client DHCP messages to the correct handling routines
 */

void
message_dispatcher (int s, bool * stop)
{
    if (!stop)
	return ;

    while (!(*stop)) {
	struct sockaddr_in client_sock;
	socklen_t slen = sizeof(client_sock);
	size_t len;

	dhcpd_msg request;
	dhcpd_msg reply;

	uint8_t type;

	fd_set readfds;
	struct timeval timeout;

	timeout.tv_usec = 100000;
	timeout.tv_sec  = 0;

	FD_ZERO(&readfds);
	FD_SET(s, &readfds);

	int ready = select(s+1, &readfds, NULL, NULL, &timeout);

	if (ready == 0) {
	    continue ;
	} else if (ready == -1) {
	    LOG_ERR("%s: Error on select ()",__func__);
	}

	if((len = recvfrom(s, &request.hdr, sizeof(request.hdr), 0, (struct sockaddr *)&client_sock, &slen)) < DHCP_HEADER_SIZE + 5) {
	    continue; // TODO: check the magic number 300
	}

	if(request.hdr.op != BOOTREQUEST)
	    continue;
	
	printk("%s.%u: request received 1\n",str_ip(client_sock.sin_addr.s_addr), ntohs(client_sock.sin_port));
	if((type = expand_request(&request, len)) == 0) {
	    log_error("%s.%u: invalid request received",
		      str_ip(client_sock.sin_addr.s_addr), ntohs(client_sock.sin_port));
	    continue;
	}
	printk("%s.%u: request received 2\n",str_ip(client_sock.sin_addr.s_addr), ntohs(client_sock.sin_port));
	init_reply(&request, &reply);
	printk("type:%d\n",type);
	switch (type) {

	case DHCP_DISCOVER:
            type = serve_dhcp_discover(&request, &reply);
	    break;

	case DHCP_REQUEST:
	    type = serve_dhcp_request(&request, &reply);
	    break;
	    
	case DHCP_DECLINE:
	    type = serve_dhcp_decline(&request, &reply);
	    break;
	    
	case DHCP_RELEASE:
	    type = serve_dhcp_release(&request, &reply);
	    break;
	    
	case DHCP_INFORM:
	    type = serve_dhcp_inform(&request, &reply);
	    break;
	    
	default:
	    printk("%s.%u: request with invalid DHCP message type option 0x%02x\n",
		   str_ip(client_sock.sin_addr.s_addr), ntohs(client_sock.sin_port),type);
	    break;
	
	}

	if(type != 0) {
	    printk("AAA1\n");
	    send_dhcp_reply(s, &client_sock, &reply);
	    printk("AAA2\n");
	}
	delete_option_list(&request.opts);
	printk("AAA3\n");
	delete_option_list(&reply.opts);
	printk("AAA4\n");

    }

}
extern int net_ipv4_create_full(struct net_pkt *pkt,
				const struct in_addr *src,
				const struct in_addr *dst,
				uint8_t tos,
				uint16_t id,
				uint8_t flags,
				uint16_t offset,
				uint8_t ttl);

static void
dhcpd4_task (bool *stop, void *p2, void *p3)
{
    ARG_UNUSED(p2);
    ARG_UNUSED(p3);
    LOG_INF("dpcpd4 started");
    int s;
    struct sockaddr_in server_sock;

     if ((s = socket(AF_INET, SOCK_DGRAM, IPPROTO_UDP)) == -1) {
          LOG_ERR("server: socket() error %s", strerror(errno));
	  return ;
     }

     server_sock.sin_family = AF_INET;
     server_sock.sin_addr.s_addr = htonl(INADDR_ANY);
     server_sock.sin_port = htons(67);

     if (bind(s, (struct sockaddr *) &server_sock, sizeof(server_sock)) == -1) {
         LOG_ERR("server: bind() %s", strerror(errno));
         close(s);
	 return;
     }

     LOG_INF("dhcpd4 server: listening on %d", ntohs(server_sock.sin_port));

     /* Message processing loop */
     
     message_dispatcher(s, stop);

     close(s);
     LOG_INF("dpcpd4 finished");
}

#define DHCPD4_TASK_PRIO              21u
#define DHCPD4_TASK_STK_SIZE         2048u

struct k_thread dhcpd4_task_thread_data;
static K_THREAD_STACK_DEFINE(dhcpd4_task_stk, DHCPD4_TASK_STK_SIZE);
static k_tid_t dhcpd4_tid = NULL;
static bool dhcpd4_task_stop = false;
int dhcpd4_start(struct net_if *iface)
{

     address_pool * pool = get_pool();

     if (dhcpd4_tid) {
	 LOG_ERR("dhcpd4 already started.");
	 return -1;
     }

     memset(pool, 0, sizeof(*pool));
     init_binding_list(&pool->bindings);
     init_option_list(&pool->options);

     if (!iface) {
	 if (pool->device_index < 0) {
	    iface=net_if_get_default();
	 }
     }
     pool->device_index=net_if_get_by_iface(iface);

     if (TAILQ_EMPTY(&(pool->options))) {
	 int result = 0;
	 result += parse_and_add_option(pool, "BROADCAST_ADDRESS","192.168.2.255");
	 result += parse_and_add_option(pool, "SUBNET_MASK","255.255.255.0");
	 if (result){
	    LOG_ERR("dhcpd not started. parse_and_add_option error");
	    return 0;
	 }

	 uint32_t *first = NULL, *last=NULL;
	 parse_ip ("192.168.2.2", (void**)&first);
	 parse_ip ("192.168.2.254", (void**)&last);
	 if (first && last) {
	    pool->indexes.first = *first;
	    pool->indexes.last = *last;
	    pool->indexes.current = *first;
	 }
	 dhcp4_free(first);
	 dhcp4_free(last);
     }

     if (pool->device_index>0) {
	 pool->server_id=iface->config.ip.ipv4->unicast[0].address.in_addr.s_addr;
	 dhcpd4_task_stop = false;
	 dhcpd4_tid = k_thread_create(&dhcpd4_task_thread_data, dhcpd4_task_stk,
			 K_THREAD_STACK_SIZEOF(dhcpd4_task_stk), (k_thread_entry_t)dhcpd4_task,
			 &dhcpd4_task_stop, 0, 0, DHCPD4_TASK_PRIO, 0, K_NO_WAIT);
	 if (dhcpd4_tid) {
	    k_thread_name_set(&dhcpd4_task_thread_data, "dhcpd4 Task");
	    return 0;
	 }
	 return -1;

     }
     LOG_ERR("dhcpd not started. Invalid interface index");
     return -1;
}

int dhcpd4_stop(void) {
     dhcpd4_task_stop = true;
     k_thread_join(&dhcpd4_task_thread_data, K_FOREVER);
     dhcpd4_tid=NULL;
     LOG_ERR("dhcpd thread joined");
     return 0;
}


#include <zephyr/net/net_core.h>
#include <zephyr/net/net_pkt.h>
#include <zephyr/net/net_if.h>
#include <zephyr/net/net_mgmt.h>


#define DHCPV4_SERVER_PORT	67
#define DHCPV4_CLIENT_PORT	68


int net_ipv4_create(struct net_pkt *pkt,
		    const struct in_addr *src,
		    const struct in_addr *dst);

int net_udp_create(struct net_pkt *pkt, uint16_t src_port, uint16_t dst_port);

int net_ipv4_finalize(struct net_pkt *pkt, uint8_t next_header_proto);

struct net_pkt *dhcpdv4_create_message(struct net_if *iface,
				       const struct in_addr *src,
				       const struct in_addr *dst,
				       uint8_t * data,
				       size_t size){
     LOG_HEXDUMP_INF(data, size, "dhcpd reply");
     NET_PKT_DATA_ACCESS_DEFINE(dhcp_access, struct dhcpd_msg);
     const struct in_addr *addr;
     struct net_pkt *pkt;

     if (src == NULL) {
	 addr = net_ipv4_unspecified_address();
     } else {
	 addr = src;
     }

     pkt = net_pkt_alloc_with_buffer(iface, size, AF_INET,
				     IPPROTO_UDP, K_FOREVER);

     net_pkt_set_ipv4_ttl(pkt, 0xFF);

     if (net_ipv4_create(pkt, addr, dst) ||
	 net_udp_create(pkt, htons(DHCPV4_SERVER_PORT),
			htons(DHCPV4_CLIENT_PORT))) {
	 goto fail;
     }

     dhcpd_msg *msg = net_pkt_get_data(pkt, &dhcp_access);

     (void)msg;
     //memmove(msg, data, size);


     net_pkt_write(pkt,data, size);

     net_pkt_cursor_init(pkt);

     net_ipv4_finalize(pkt, IPPROTO_UDP);

     return pkt;

fail:
     NET_DBG("Message creation failed");
     net_pkt_unref(pkt);

     return NULL;
}
```
